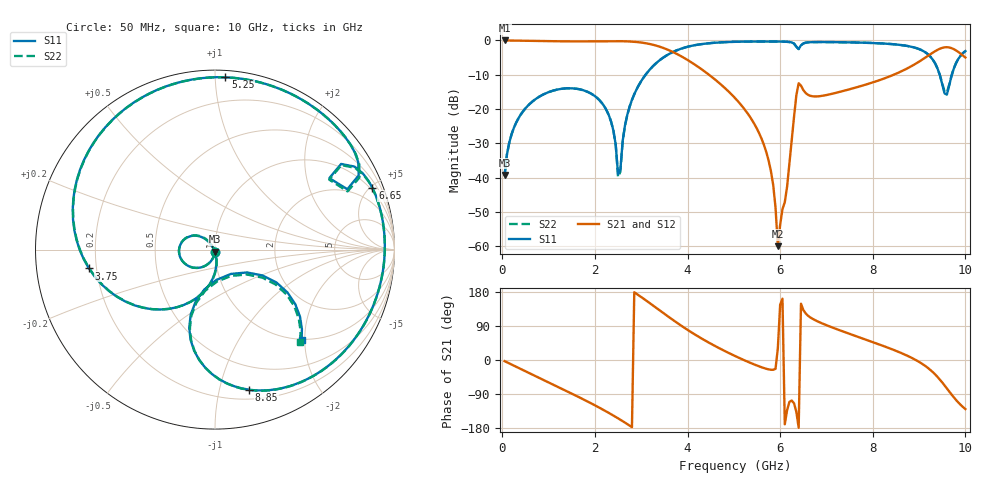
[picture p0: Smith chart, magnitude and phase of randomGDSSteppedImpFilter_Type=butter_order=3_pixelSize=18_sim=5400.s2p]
! freq	dB(S11)	phase(S11)	dB(S12)	phase(S12)
!  dB(S21)	phase(S21)	dB(S22)	phase(S22)
!S-par simulation data
#  GHz  S  DB  R 50
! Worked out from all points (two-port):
!   200 points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, 50 MHz to 10 GHz, reference 50 ohm
!   highest |S21| = -0.01 dB at 50 MHz (marker M1); lowest = -60.0 dB at 5.95 GHz (marker M2)
!   |S21| within 3 dB of the highest: start of sweep to 3.625 GHz; 9.364 GHz to 9.808 GHz (444.4 MHz wide, 4.64 % of centre)
!   lowest |S11| = -39.2 dB at 50 MHz (marker M3), VSWR 1.02, Z = 49.9 - j1.09 ohm
!   |S11| at or under -10 dB: start of sweep to 3.095 GHz; 9.444 GHz to 9.709 GHz (264.7 MHz wide, 2.76 % of centre)
!   |S22| runs from -39.8 to -0.3 dB; largest |S21 - S12| = 0
!   S11 on the Smith chart (normalised r, x): 50 MHz: 1.00, -0.02; 3.75 GHz: 0.17, -0.07; 5.25 GHz: 0.04, +1.06; 6.65 GHz: 0.84, +5.15; 8.85 GHz: 0.28, -1.23; 10 GHz: 0.97, -1.93
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0.05  -39.25 -92.4  -0.01 -3.0  -0.01 -3.0  -39.25 -92.4
0.2  -27.36 -101.9  -0.03 -12.0  -0.03 -12.0  -27.37 -101.9
0.55  -19.07 -123.1  -0.10 -32.7  -0.10 -32.7  -19.07 -123.2
1.75  -14.53 166.1  -0.28 -103.8  -0.28 -103.8  -14.53 165.5
2.3  -21.78 132.9  -0.21 -139.6  -0.21 -139.6  -21.79 131.2
2.5  -39.02 146.5  -0.21 -153.9  -0.21 -153.9  -39.84 134.9
2.8  -17.33 -91.2  -0.35 -177.1  -0.35 -177.1  -17.34 -90.4
3.4  -5.75 -141.1  -1.83 130.8  -1.83 130.8  -5.75 -141.2
3.75  -2.97 -171.5  -3.81 100.1  -3.81 100.1  -2.97 -171.8
4.3  -1.07 145.7  -8.37 57.0  -8.37 57.0  -1.07 145.3
5.05  -0.39 97.9  -17.15 9.2  -17.15 9.2  -0.39 97.3
5.25  -0.34 86.6  -20.40 -1.9  -20.40 -1.9  -0.34 86.0
5.75  -0.31 59.7  -34.98 -24.7  -34.98 -24.7  -0.31 59.1
5.95  -0.32 49.2  -59.99 30.9  -59.99 30.9  -0.32 48.6
6.4  -2.49 32.0  -12.50 -178.7  -12.50 -178.7  -2.54 31.5
6.65  -0.52 21.4  -16.14 112.4  -16.14 112.4  -0.52 20.9
6.7  -0.49 18.8  -16.28 108.7  -16.28 108.7  -0.49 18.3
8.35  -1.00 -52.5  -10.56 31.4  -10.56 31.4  -1.00 -52.8
8.85  -1.90 -76.3  -7.39 5.1  -7.39 5.1  -1.89 -76.5
9.35  -6.80 -108.3  -3.11 -38.4  -3.11 -38.4  -6.75 -107.7
9.6  -15.79 -56.5  -1.97 -75.0  -1.97 -75.0  -15.27 -58.0
10  -3.11 -46.4  -4.99 -129.5  -4.99 -129.5  -3.10 -47.4
